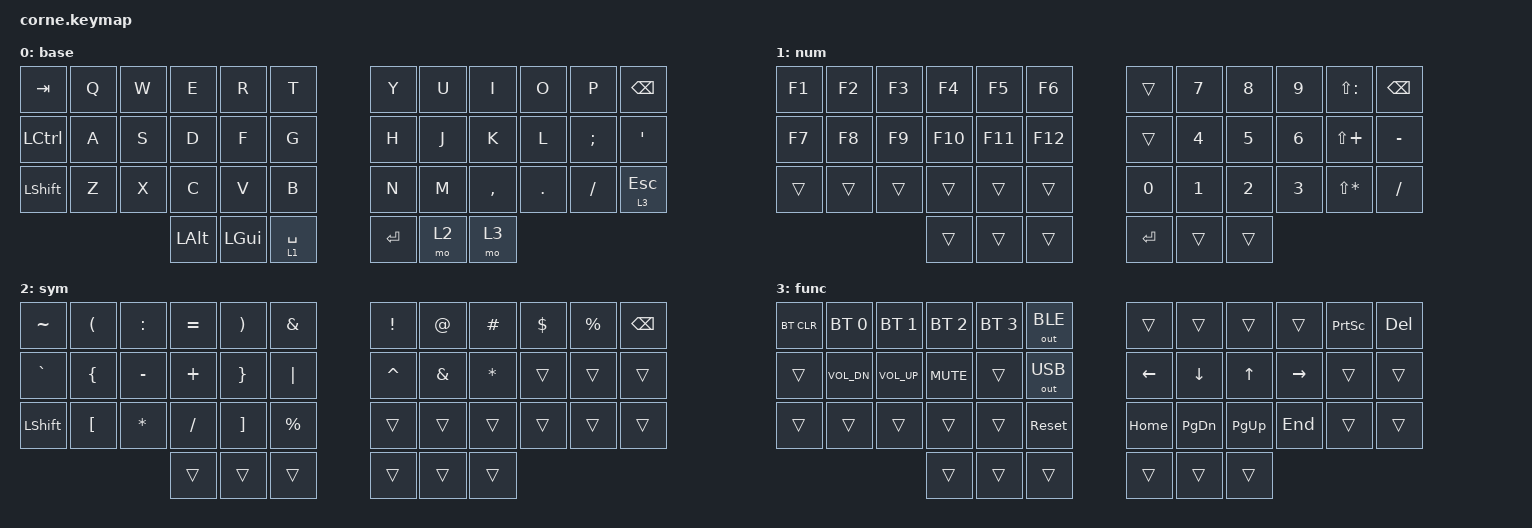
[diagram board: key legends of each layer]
/*
 * Copyright (c) 2020 The ZMK Contributors
 *
 * SPDX-License-Identifier: MIT
 */

#include <behaviors.dtsi>
#include <dt-bindings/zmk/keys.h>
#include <dt-bindings/zmk/bt.h>


/ {
    combos {
        compatible = "zmk,combos";

        combo1 {
            bindings = <&kp LEFT_PARENTHESIS>;
            key-positions = <4 5>;
        };

        combo2 {
            bindings = <&kp LEFT_BRACE>;
            key-positions = <16 17>;
        };

        combo3 {
            bindings = <&kp LEFT_BRACKET>;
            key-positions = <28 29>;
        };

        c4 {
            bindings = <&kp RIGHT_PARENTHESIS>;
            key-positions = <6 7>;
        };

        c5 {
            bindings = <&kp RIGHT_BRACE>;
            key-positions = <18 19>;
        };

        c6 {
            bindings = <&kp RIGHT_BRACKET>;
            key-positions = <30 31>;
        };

        esc {
            bindings = <&kp ESC>;
            key-positions = <19 20>;
        };
    };

    keymap {
        compatible = "zmk,keymap";

        base {
            bindings = <
&kp TAB    &kp Q  &kp W  &kp E     &kp R     &kp T          &kp Y      &kp U  &kp I      &kp O    &kp P     &kp BSPC
&kp LCTRL  &kp A  &kp S  &kp D     &kp F     &kp G          &kp H      &kp J  &kp K      &kp L    &kp SEMI  &kp SQT
&kp LSHFT  &kp Z  &kp X  &kp C     &kp V     &kp B          &kp N      &kp M  &kp COMMA  &kp DOT  &kp FSLH  &lt 3 ESC
                         &kp LALT  &kp LGUI  &lt 1 SPACE    &kp ENTER  &mo 2  &mo 3
            >;
        };

        num {
            bindings = <
&kp F1  &kp F2  &kp F3  &kp F4   &kp F5   &kp F6     &trans     &kp N7  &kp N8  &kp N9  &kp LS(COLON)  &kp BACKSPACE
&kp F7  &kp F8  &kp F9  &kp F10  &kp F11  &kp F12    &trans     &kp N4  &kp N5  &kp N6  &kp LS(PLUS)   &kp MINUS
&trans  &trans  &trans  &trans   &trans   &trans     &kp N0     &kp N1  &kp N2  &kp N3  &kp LS(STAR)   &kp FSLH
                        &trans   &trans   &trans     &kp ENTER  &trans  &trans
            >;
        };

        sym {
            bindings = <
&kp TILDE       &kp LEFT_PARENTHESIS  &kp COLON     &kp EQUAL  &kp RIGHT_PARENTHESIS  &kp AMPERSAND    &kp EXCLAMATION  &kp AT_SIGN    &kp HASH      &kp DOLLAR  &kp PERCENT  &kp BACKSPACE
&kp GRAVE       &kp LEFT_BRACE        &kp MINUS     &kp PLUS   &kp RIGHT_BRACE        &kp PIPE         &kp CARET        &kp AMPERSAND  &kp ASTERISK  &trans      &trans       &trans
&kp LEFT_SHIFT  &kp LEFT_BRACKET      &kp ASTERISK  &kp SLASH  &kp RIGHT_BRACKET      &kp PERCENT      &trans           &trans         &trans        &trans      &trans       &trans
                                                    &trans     &trans                 &trans           &trans           &trans         &trans
            >;
        };

        func {
            bindings = <
&bt BT_CLR  &bt BT_SEL 0  &bt BT_SEL 1     &bt BT_SEL 2  &bt BT_SEL 3  &out OUT_BLE    &trans          &trans         &trans        &trans     &kp PRINTSCREEN  &kp DEL
&trans      &kp C_VOL_DN  &kp C_VOLUME_UP  &kp C_MUTE    &trans        &out OUT_USB    &kp LEFT_ARROW  &kp DOWN       &kp UP_ARROW  &kp RIGHT  &trans           &trans
&trans      &trans        &trans           &trans        &trans        &sys_reset      &kp HOME        &kp PAGE_DOWN  &kp PAGE_UP   &kp END    &trans           &trans
                                           &trans        &trans        &trans          &trans          &trans         &trans
            >;
        };
    };
};
